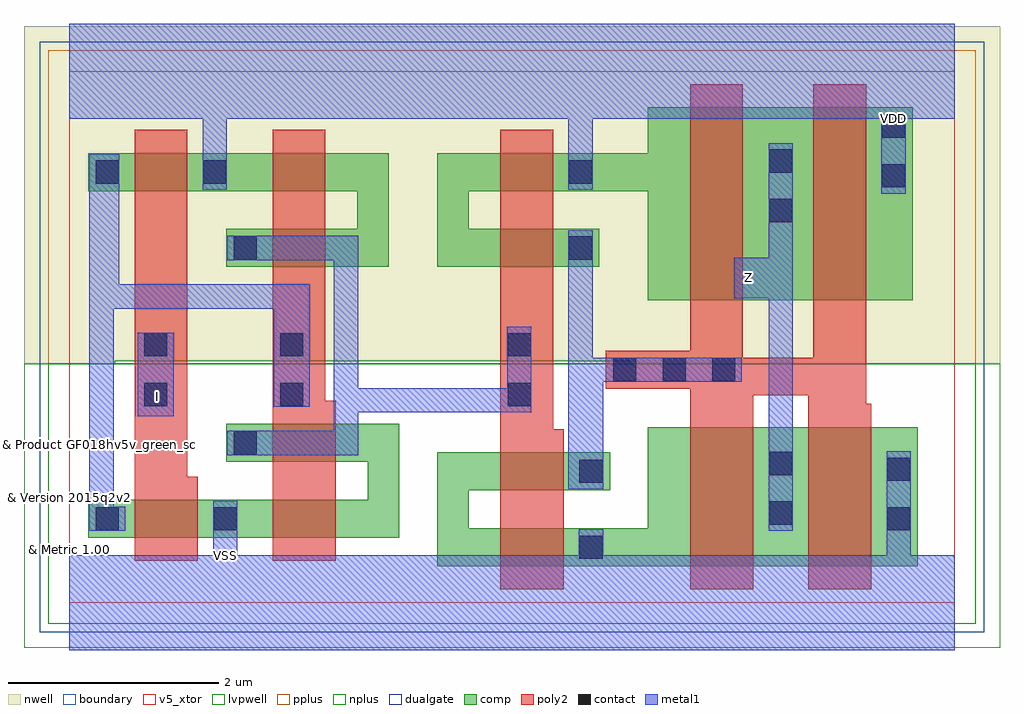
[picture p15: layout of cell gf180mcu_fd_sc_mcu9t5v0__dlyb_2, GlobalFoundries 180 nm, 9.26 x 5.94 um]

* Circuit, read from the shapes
.subckt gf180mcu_fd_sc_mcu9t5v0__dlyb_2 I VDD VSS Z
XM1 VSS I n1 VSUBS nfet_05v0 w=0.36u l=0.6u
XM2 n2 n1 VSS VSUBS nfet_05v0 w=0.36u l=0.6u
XM3 n2 n1 n3 VSUBS nfet_05v0 w=0.36u l=0.6u
XM4 VSS n3 n4 VSUBS nfet_05v0 w=0.36u l=0.6u
XM5 n5 n3 n4 VSUBS nfet_05v0 w=0.36u l=0.6u
XM6 Z n5 VSS VSUBS nfet_05v0 w=1.32u l=0.6u m=2
XM7 VDD I n1 n6 pfet_05v0 w=0.36u l=0.5u
XM8 n7 n1 n3 n6 pfet_05v0 w=0.36u l=0.5u
XM9 n7 n1 VDD n6 pfet_05v0 w=0.36u l=0.5u
XM10 n5 n3 n8 n6 pfet_05v0 w=0.36u l=0.5u
XM11 VDD n3 n8 n6 pfet_05v0 w=0.36u l=0.5u
XM12 Z n5 VDD n6 pfet_05v0 w=1.83u l=0.5u m=2
.ends

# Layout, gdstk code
import gdstk
lib = gdstk.Library(unit=1e-6, precision=1e-09)
def R(c, l, rs):  # rectangles x0, y0, x1, y1
    for r in rs: c.add(gdstk.rectangle(r[:2], r[2:], *l))
def A(c, l, x, y, w, h, nx, ny, dx, dy):  # array of equal rectangles
    R(c, l, [(x+i*dx, y+j*dy, x+i*dx+w, y+j*dy+h) for i in range(nx) for j in range(ny)])
def P(c, l, *ps):  # polygons
    for p in ps: c.add(gdstk.Polygon(p, *l))
boundary = (0, 0)
nwell = (21, 0)
comp = (22, 0)
poly2 = (30, 0)
pplus = (31, 0)
nplus = (32, 0)
contact = (33, 0)
metal1 = (34, 0)
dualgate = (55, 0)
v5_xtor = (112, 1)
lvpwell = (204, 0)

gf180mcu_fd_sc_mcu9t5v0_ = lib.new_cell('gf180mcu_fd_sc_mcu9t5v0__dlyb_2')
R(gf180mcu_fd_sc_mcu9t5v0_, boundary, [(0,0,8.4,5.04)])
P(gf180mcu_fd_sc_mcu9t5v0_, nwell, [(-0.43,2.265),(-0.43,5.47),(8.83,5.47),(8.83,2.265),(5.315,2.265),(5.315,2.295),(0.43,2.295),(0.43,2.265)])
P(gf180mcu_fd_sc_mcu9t5v0_, comp, [(1.49,3.185),(1.49,3.545),(2.73,3.545),(2.73,3.905),(0.18,3.905),(0.18,4.265),(3.03,4.265),(3.03,3.185)],
  [(0.18,0.615),(0.18,0.975),(2.83,0.975),(2.83,1.335),(1.49,1.335),(1.49,1.695),(3.13,1.695),(3.13,0.615)],
  [(5.49,2.87),(5.49,3.905),(3.79,3.905),(3.79,3.545),(5.03,3.545),(5.03,3.185),(3.49,3.185),(3.49,4.265),(5.49,4.265),(5.49,4.7),(8,4.7),(8,2.87)],
  [(3.49,0.345),(3.49,1.425),(5.13,1.425),(5.13,1.065),(3.79,1.065),(3.79,0.705),(5.49,0.705),(5.49,1.665),(8.05,1.665),(8.05,0.345)])
P(gf180mcu_fd_sc_mcu9t5v0_, poly2, [(0.62,0.395),(0.62,4.485),(1.12,4.485),(1.12,1.195),(1.22,1.195),(1.22,0.395)],
  [(1.93,0.395),(1.93,4.485),(2.43,4.485),(2.43,1.915),(2.53,1.915),(2.53,0.395)],
  [(4.09,0.125),(4.09,4.485),(4.59,4.485),(4.59,1.645),(4.69,1.645),(4.69,0.125)],
  [(5.89,0.125),(5.89,2.03),(5.09,2.03),(5.09,2.39),(5.89,2.39),(5.89,4.92),(6.39,4.92),(6.39,2.325),(7.06,2.325),(7.06,4.92),(7.56,4.92),(7.56,1.885),(7.61,1.885),(7.61,0.125),(7.01,0.125),(7.01,1.965),(6.49,1.965),(6.49,0.125)])
R(gf180mcu_fd_sc_mcu9t5v0_, pplus, [(-0.2,2.265,8.6,5.24)])
R(gf180mcu_fd_sc_mcu9t5v0_, nplus, [(-0.2,-0.2,8.6,2.265)])
A(gf180mcu_fd_sc_mcu9t5v0_, contact, 5.16, 2.1, 0.22, 0.22, 3, 1, 0.47, 0)
R(gf180mcu_fd_sc_mcu9t5v0_, contact, [(4.84,0.415,5.06,0.635), (0.25,0.685,0.47,0.905), (1.37,0.685,1.59,0.905), (7.76,0.685,7.98,0.905), (6.64,0.74,6.86,0.96), (4.84,1.135,5.06,1.355), (7.76,1.155,7.98,1.375), (6.64,1.21,6.86,1.43), (1.56,1.405,1.78,1.625), (0.71,1.865,0.93,2.085), (2,1.865,2.22,2.085), (4.16,1.865,4.38,2.085), (0.71,2.335,0.93,2.555), (2,2.335,2.22,2.555), (4.16,2.335,4.38,2.555), (1.56,3.255,1.78,3.475), (4.74,3.255,4.96,3.475), (6.64,3.61,6.86,3.83), (7.71,3.94,7.93,4.16), (0.25,3.975,0.47,4.195), (1.27,3.975,1.49,4.195), (4.74,3.975,4.96,4.195), (6.64,4.08,6.86,4.3), (7.71,4.41,7.93,4.63)])
R(gf180mcu_fd_sc_mcu9t5v0_, metal1, [(0.65,1.77,0.99,2.56)])
P(gf180mcu_fd_sc_mcu9t5v0_, metal1, [(0.19,0.68),(0.19,4.255),(0.475,4.255),(0.475,3.02),(2.28,3.02),(2.28,1.86),(1.94,1.86),(1.94,2.79),(0.42,2.79),(0.42,0.91),(0.53,0.91),(0.53,0.68)],
  [(1.5,1.4),(1.5,1.63),(2.51,1.63),(2.51,3.25),(1.5,3.25),(1.5,3.48),(2.74,3.48),(2.74,2.035),(4.155,2.035),(4.155,2.615),(4.385,2.615),(4.385,1.805),(2.74,1.805),(2.74,1.4)],
  [(4.735,1.075),(4.735,3.535),(4.965,3.535),(4.965,2.325),(6.38,2.325),(6.38,2.095),(5.065,2.095),(5.065,1.075)],
  [(6.635,0.68),(6.635,2.89),(6.31,2.89),(6.31,3.27),(6.635,3.27),(6.635,4.36),(6.865,4.36),(6.865,0.68)],
  [(0,-0.45),(0,0.45),(1.365,0.45),(1.365,0.965),(1.595,0.965),(1.595,0.45),(4.835,0.45),(4.835,0.695),(5.065,0.695),(5.065,0.45),(7.755,0.45),(7.755,1.435),(7.985,1.435),(7.985,0.45),(8.4,0.45),(8.4,-0.45)],
  [(7.705,3.88),(7.705,4.59),(4.965,4.59),(4.965,3.915),(4.735,3.915),(4.735,4.59),(1.495,4.59),(1.495,3.915),(1.265,3.915),(1.265,4.59),(0,4.59),(0,5.49),(8.4,5.49),(8.4,4.59),(7.935,4.59),(7.935,3.88)])
R(gf180mcu_fd_sc_mcu9t5v0_, dualgate, [(-0.28,-0.28,8.68,5.32)])
R(gf180mcu_fd_sc_mcu9t5v0_, v5_xtor, [(0,0,8.4,5.04)])
P(gf180mcu_fd_sc_mcu9t5v0_, lvpwell, [(-0.43,-0.43),(-0.43,2.265),(0.43,2.265),(0.43,2.295),(5.315,2.295),(5.315,2.265),(8.83,2.265),(8.83,-0.43)])
gf180mcu_fd_sc_mcu9t5v0_.add(gdstk.Label('I', (0.84,1.96), layer=34, texttype=10))
gf180mcu_fd_sc_mcu9t5v0_.add(gdstk.Label('VDD', (7.82,4.59), layer=34, texttype=10))
gf180mcu_fd_sc_mcu9t5v0_.add(gdstk.Label('VSS', (1.48,0.45), layer=34, texttype=10))
gf180mcu_fd_sc_mcu9t5v0_.add(gdstk.Label('Z', (6.44,3.08), layer=34, texttype=10))
gf180mcu_fd_sc_mcu9t5v0_.add(gdstk.Label('& Vendor GLOBALFOUNDRIES', (0,2), layer=63, texttype=63))
gf180mcu_fd_sc_mcu9t5v0_.add(gdstk.Label('& Product GF018hv5v_green_sc9', (0,1.5), layer=63, texttype=63))
gf180mcu_fd_sc_mcu9t5v0_.add(gdstk.Label('& Version 2015q2v2', (0,1), layer=63, texttype=63))
gf180mcu_fd_sc_mcu9t5v0_.add(gdstk.Label('& Metric 1.00', (0,0.5), layer=63, texttype=63))

lib.write_gds('gf180mcu_fd_sc_mcu9t5v0__dlyb_2.gds')
